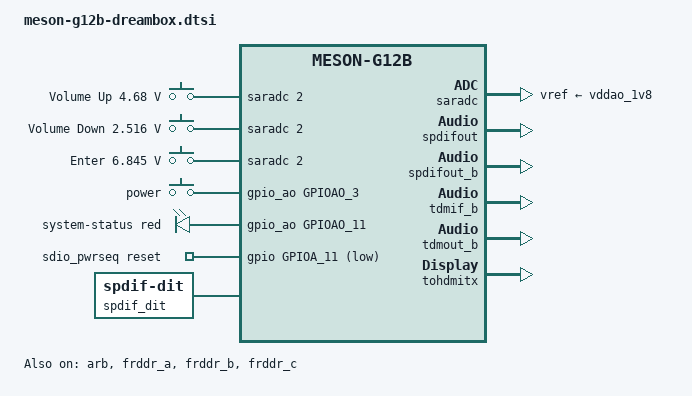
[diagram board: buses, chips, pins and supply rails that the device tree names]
// SPDX-License-Identifier: (GPL-2.0+ OR MIT)
/*
 * Copyright (c) 2021 Christian Hewitt <christianshewitt@gmail.com>
 */

#include "meson-g12b-w400.dtsi"
#include <dt-bindings/gpio/gpio.h>
#include <dt-bindings/leds/common.h>
#include <dt-bindings/sound/meson-g12a-tohdmitx.h>

/ {
        cvbs-connector {
		status = "disabled";
        };

	adc_keys {
		compatible = "adc-keys";
		io-channels = <&saradc 2>;
		io-channel-names = "buttons";
		keyup-threshold-microvolt = <1800000>;

		button-up {
			label = "Volume Up";
			linux,code = <KEY_VOLUMEUP>;
			press-threshold-microvolt = <4680352>;
		};

		button-down {
			label = "Volume Down";
			linux,code = <KEY_VOLUMEDOWN>;
			press-threshold-microvolt = <2516129>;
		};

		button-enter {
			label = "Enter";
			linux,code = <KEY_ENTER>;
			press-threshold-microvolt = <6844575>;
		};
	};

	gpio-keys-polled {
		compatible = "gpio-keys-polled";
		poll-interval = <20>;

		button {
			label = "power";
			linux,code = <KEY_POWER>;
			gpios = <&gpio_ao GPIOAO_3 GPIO_ACTIVE_HIGH>;
		};
	};

	leds {
		compatible = "gpio-leds";

		led-system {
			label = "system-status";
			color = <LED_COLOR_ID_RED>;
			function = LED_FUNCTION_POWER;
			gpios = <&gpio_ao GPIOAO_11 GPIO_ACTIVE_HIGH>;
			default-state = "on";
			panic-indicator;
			retain-state-suspended;
		};
	};

	sdio_pwrseq: sdio-pwrseq {
		compatible = "mmc-pwrseq-simple";
		reset-gpios = <&gpio GPIOA_11 GPIO_ACTIVE_LOW>;
		clocks = <&wifi32k>;
		clock-names = "ext_clock";
	};

	spdif_dit: audio-codec-1 {
		#sound-dai-cells = <0>;
		compatible = "linux,spdif-dit";
		status = "okay";
		sound-name-prefix = "DIT";
	};

	sound {
		compatible = "amlogic,axg-sound-card";
		model = "DREAMBOX";
		audio-aux-devs = <&tdmout_b>;
		audio-routing = "TDMOUT_B IN 0", "FRDDR_A OUT 1",
				"TDMOUT_B IN 1", "FRDDR_B OUT 1",
				"TDMOUT_B IN 2", "FRDDR_C OUT 1",
				"TDM_B Playback", "TDMOUT_B OUT",
				"SPDIFOUT IN 0", "FRDDR_A OUT 3",
				"SPDIFOUT IN 1", "FRDDR_B OUT 3",
				"SPDIFOUT IN 2", "FRDDR_C OUT 3";

		assigned-clocks = <&clkc CLKID_MPLL2>,
				  <&clkc CLKID_MPLL0>,
				  <&clkc CLKID_MPLL1>;
		assigned-clock-parents = <0>, <0>, <0>;
		assigned-clock-rates = <294912000>,
				       <270950400>,
				       <393216000>;
		status = "okay";

		dai-link-0 {
			sound-dai = <&frddr_a>;
		};

		dai-link-1 {
			sound-dai = <&frddr_b>;
		};

		dai-link-2 {
			sound-dai = <&frddr_c>;
		};

		/* 8ch hdmi interface */
		dai-link-3 {
			sound-dai = <&tdmif_b>;
			dai-format = "i2s";
			dai-tdm-slot-tx-mask-0 = <1 1>;
			dai-tdm-slot-tx-mask-1 = <1 1>;
			dai-tdm-slot-tx-mask-2 = <1 1>;
			dai-tdm-slot-tx-mask-3 = <1 1>;
			mclk-fs = <256>;

			codec {
				sound-dai = <&tohdmitx TOHDMITX_I2S_IN_B>;
			};
		};

		/* spdif hdmi or toslink interface */
		dai-link-4 {
			sound-dai = <&spdifout>;

			codec-0 {
				sound-dai = <&spdif_dit>;
			};

			codec-1 {
				sound-dai = <&tohdmitx TOHDMITX_SPDIF_IN_A>;
			};
		};

		/* spdif hdmi interface */
		dai-link-5 {
			sound-dai = <&spdifout_b>;

			codec {
				sound-dai = <&tohdmitx TOHDMITX_SPDIF_IN_B>;
			};
		};

		/* hdmi glue */
		dai-link-6 {
			sound-dai = <&tohdmitx TOHDMITX_I2S_OUT>;

			codec {
				sound-dai = <&hdmi_tx>;
			};
		};
	};
};

&arb {
	status = "okay";
};

&clkc_audio {
	status = "okay";
};

&frddr_a {
	status = "okay";
};

&frddr_b {
	status = "okay";
};

&frddr_c {
	status = "okay";
};

&ir {
	linux,rc-map-name = "rc-dreambox";
};

&saradc {
	status = "okay";
	vref-supply = <&vddao_1v8>;
};

&spdifout {
	pinctrl-0 = <&spdif_out_h_pins>;
	pinctrl-names = "default";
	status = "okay";
};

&spdifout_b {
	status = "okay";
};

&tdmif_b {
	status = "okay";
};

&tdmout_b {
	status = "okay";
};

&tohdmitx {
	status = "okay";
};
